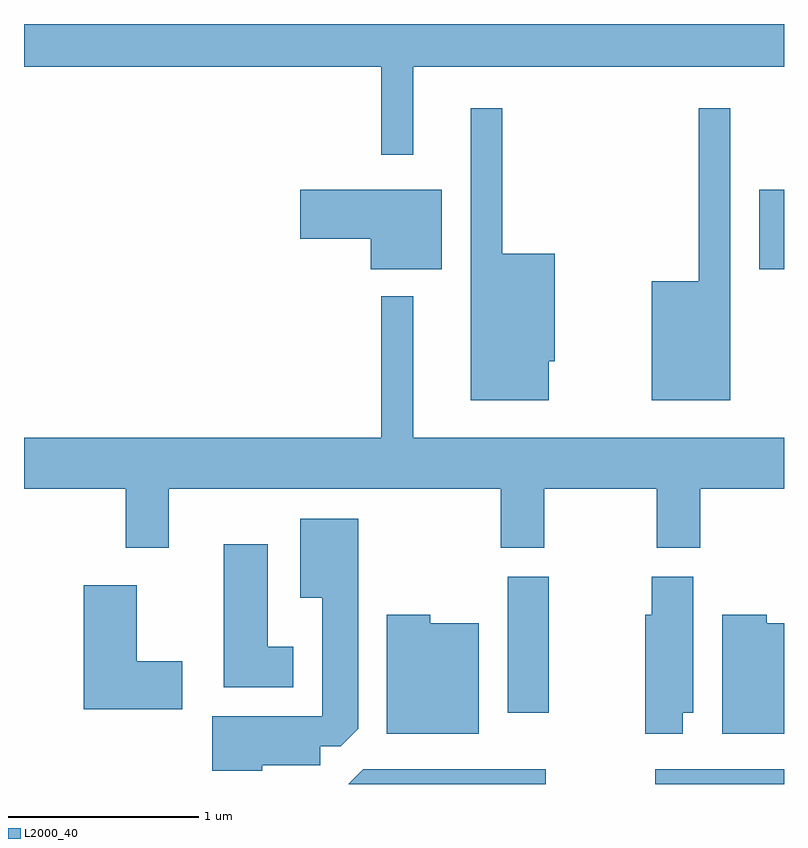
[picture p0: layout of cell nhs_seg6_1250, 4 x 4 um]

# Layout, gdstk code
import gdstk
lib = gdstk.Library(unit=1e-6, precision=1e-09)
def R(c, l, rs):  # rectangles x0, y0, x1, y1
    for r in rs: c.add(gdstk.rectangle(r[:2], r[2:], *l))
def P(c, l, *ps):  # polygons
    for p in ps: c.add(gdstk.Polygon(p, *l))
L2000_40 = (2000, 40)

nhs_seg6_1250 = lib.new_cell('nhs_seg6_1250')
R(nhs_seg6_1250, L2000_40, [(224.933,1646.162,225.611,1646.239), (224.156,1646.536,224.374,1647.254), (225.481,1648.871,225.611,1649.289)])
P(nhs_seg6_1250, L2000_40, [(223.659,1649.936),(225.611,1649.936),(225.611,1650.162),(221.611,1650.162),(221.611,1649.936),(223.491,1649.936),(223.491,1649.473),(223.659,1649.473)],
  [(225.329,1649.718),(225.161,1649.718),(225.161,1648.809),(224.916,1648.809),(224.916,1648.181),(225.329,1648.181)],
  [(224.374,1648.386),(224.404,1648.386),(224.404,1648.954),(224.129,1648.954),(224.129,1649.718),(223.961,1649.718),(223.961,1648.181),(224.374,1648.181)],
  [(223.809,1649.289),(223.066,1649.289),(223.066,1649.031),(223.436,1649.031),(223.436,1648.871),(223.809,1648.871)],
  [(222.374,1647.716),(224.121,1647.716),(224.121,1647.406),(224.349,1647.406),(224.349,1647.716),(224.941,1647.716),(224.941,1647.406),(225.169,1647.406),(225.169,1647.716),(225.611,1647.716),(225.611,1647.984),(223.659,1647.984),(223.659,1648.728),(223.491,1648.728),(223.491,1647.984),(221.611,1647.984),(221.611,1647.716),(222.146,1647.716),(222.146,1647.406),(222.374,1647.406)],
  [(222.864,1646.261),(223.169,1646.261),(223.169,1646.361),(223.279,1646.361),(223.369,1646.452),(223.369,1647.559),(223.066,1647.559),(223.066,1647.141),(223.181,1647.141),(223.181,1646.519),(222.601,1646.519),(222.601,1646.231),(222.864,1646.231)],
  [(223.029,1646.884),(222.894,1646.884),(222.894,1647.424),(222.661,1647.424),(222.661,1646.671),(223.029,1646.671)],
  [(225.079,1646.536),(225.134,1646.536),(225.134,1647.254),(224.916,1647.254),(224.916,1647.054),(224.881,1647.054),(224.881,1646.426),(225.079,1646.426)],
  [(222.444,1646.809),(222.204,1646.809),(222.204,1647.209),(221.926,1647.209),(221.926,1646.556),(222.444,1646.556)],
  [(225.611,1647.009),(225.519,1647.009),(225.519,1647.054),(225.286,1647.054),(225.286,1646.426),(225.611,1646.426)],
  [(224.004,1647.009),(223.749,1647.009),(223.749,1647.054),(223.521,1647.054),(223.521,1646.426),(224.004,1646.426)],
  [(224.358,1646.239),(223.397,1646.239),(223.321,1646.164),(223.321,1646.162),(224.358,1646.162)])

lib.write_gds('nhs_seg6_1250.gds')
